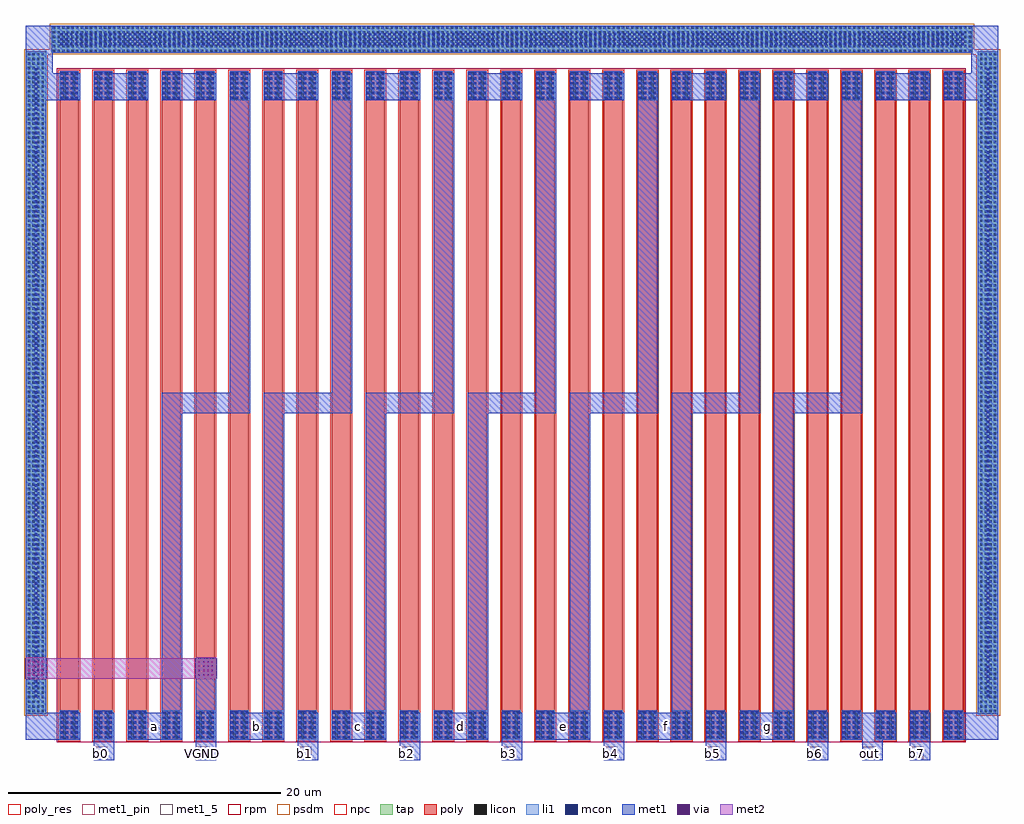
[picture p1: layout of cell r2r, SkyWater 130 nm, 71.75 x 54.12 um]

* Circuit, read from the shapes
.subckt r2r VGND a b b0 b1 b2 b3 b4 b5 b6 b7 c d e f g out
XR1 VGND VGND VGND sky130_fd_pr__res_high_po w=1.41 l=44.88 m=2
XR2 n1 b0 VGND sky130_fd_pr__res_high_po w=1.41 l=44.88
XR3 n1 a VGND sky130_fd_pr__res_high_po w=1.41 l=44.88
XR4 n2 a VGND sky130_fd_pr__res_high_po w=1.41 l=44.88
XR5 n2 VGND VGND sky130_fd_pr__res_high_po w=1.41 l=44.88
XR6 a b VGND sky130_fd_pr__res_high_po w=1.41 l=44.88
XR7 n3 b VGND sky130_fd_pr__res_high_po w=1.41 l=44.88
XR8 n3 b1 VGND sky130_fd_pr__res_high_po w=1.41 l=44.88
XR9 b c VGND sky130_fd_pr__res_high_po w=1.41 l=44.88
XR10 n4 c VGND sky130_fd_pr__res_high_po w=1.41 l=44.88
XR11 n4 b2 VGND sky130_fd_pr__res_high_po w=1.41 l=44.88
XR12 c d VGND sky130_fd_pr__res_high_po w=1.41 l=44.88
XR13 n5 d VGND sky130_fd_pr__res_high_po w=1.41 l=44.88
XR14 n5 b3 VGND sky130_fd_pr__res_high_po w=1.41 l=44.88
XR15 d e VGND sky130_fd_pr__res_high_po w=1.41 l=44.88
XR16 n6 e VGND sky130_fd_pr__res_high_po w=1.41 l=44.88
XR17 n6 b4 VGND sky130_fd_pr__res_high_po w=1.41 l=44.88
XR18 e f VGND sky130_fd_pr__res_high_po w=1.41 l=44.88
XR19 n7 f VGND sky130_fd_pr__res_high_po w=1.41 l=44.88
XR20 n7 b5 VGND sky130_fd_pr__res_high_po w=1.41 l=44.88
XR21 f g VGND sky130_fd_pr__res_high_po w=1.41 l=44.88
XR22 n8 g VGND sky130_fd_pr__res_high_po w=1.41 l=44.88
XR23 n8 b6 VGND sky130_fd_pr__res_high_po w=1.41 l=44.88
XR24 g out VGND sky130_fd_pr__res_high_po w=1.41 l=44.88
XR25 n9 out VGND sky130_fd_pr__res_high_po w=1.41 l=44.88
XR26 n9 b7 VGND sky130_fd_pr__res_high_po w=1.41 l=44.88
.ends

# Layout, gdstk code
import gdstk
lib = gdstk.Library(unit=1e-6, precision=1e-09)
def R(c, l, rs):  # rectangles x0, y0, x1, y1
    for r in rs: c.add(gdstk.rectangle(r[:2], r[2:], *l))
def A(c, l, x, y, w, h, nx, ny, dx, dy):  # array of equal rectangles
    R(c, l, [(x+i*dx, y+j*dy, x+i*dx+w, y+j*dy+h) for i in range(nx) for j in range(ny)])
tap = (65, 44)
poly_res = (66, 13)
poly = (66, 20)
licon = (66, 44)
li1 = (67, 20)
mcon = (67, 44)
met1_5 = (68, 5)
met1_pin = (68, 16)
met1 = (68, 20)
via = (68, 44)
met2 = (69, 20)
rpm = (86, 20)
psdm = (94, 20)
npc = (95, 20)

sky130_fd_pr__res_high_p = lib.new_cell('sky130_fd_pr__res_high_po_1p41_BF4AJ4')
R(sky130_fd_pr__res_high_p, poly_res, [(-0.705,-22.5,0.705,22.5)])
R(sky130_fd_pr__res_high_p, poly, [(-0.705,-24.58,0.705,24.58)])
R(sky130_fd_pr__res_high_p, licon, [(-0.45,-24.5,-0.26,-22.5), (0.26,-24.5,0.45,-22.5), (-0.45,22.5,-0.26,24.5), (0.26,22.5,0.45,24.5)])
R(sky130_fd_pr__res_high_p, li1, [(-0.705,-24.58,0.705,-22.42), (-0.705,22.42,0.705,24.58)])
A(sky130_fd_pr__res_high_p, mcon, -0.625, -24.485, 0.17, 0.17, 4, 6, 0.36, 0.36)
A(sky130_fd_pr__res_high_p, mcon, -0.625, 22.51, 0.17, 0.17, 4, 6, 0.36, 0.36)
R(sky130_fd_pr__res_high_p, met1, [(-0.655,-24.55,0.655,-22.445), (-0.655,22.445,0.655,24.55)])
R(sky130_fd_pr__res_high_p, rpm, [(-0.905,-24.78,0.905,24.78)])
R(sky130_fd_pr__res_high_p, psdm, [(-0.815,-24.69,0.815,24.69)])
R(sky130_fd_pr__res_high_p, npc, [(-0.8,-24.675,0.8,24.675)])

c_sky130_fd_pr__res_high_p = lib.new_cell('sky130_fd_pr__res_high_po_1p41_NAL9NH')
R(c_sky130_fd_pr__res_high_p, poly_res, [(-0.705,-22.5,0.705,22.5)])
R(c_sky130_fd_pr__res_high_p, poly, [(-0.705,-24.58,0.705,24.58)])
R(c_sky130_fd_pr__res_high_p, licon, [(-0.45,-24.5,-0.26,-22.5), (0.26,-24.5,0.45,-22.5), (-0.45,22.5,-0.26,24.5), (0.26,22.5,0.45,24.5)])
R(c_sky130_fd_pr__res_high_p, li1, [(-0.705,-24.58,0.705,-22.42), (-0.705,22.42,0.705,24.58)])
A(c_sky130_fd_pr__res_high_p, mcon, -0.625, -24.485, 0.17, 0.17, 4, 6, 0.36, 0.36)
A(c_sky130_fd_pr__res_high_p, mcon, -0.625, 22.51, 0.17, 0.17, 4, 6, 0.36, 0.36)
R(c_sky130_fd_pr__res_high_p, met1, [(-0.655,-24.55,0.655,-22.445), (-0.655,22.445,0.655,24.55)])
R(c_sky130_fd_pr__res_high_p, rpm, [(-0.905,-24.78,0.905,24.78)])
R(c_sky130_fd_pr__res_high_p, psdm, [(-0.815,-24.69,0.815,24.69)])
R(c_sky130_fd_pr__res_high_p, npc, [(-0.8,-24.675,0.8,24.675)])

r2r = lib.new_cell('r2r')
R(r2r, tap, [(-5,4.88,-3.5,53.62), (65,4.88,66.5,53.62), (-3.12,53.5,64.62,55.5)])
A(r2r, licon, -4.845, 5.025, 0.17, 0.17, 4, 143, 0.34, 0.34)
A(r2r, licon, 65.155, 5.025, 0.17, 0.17, 4, 143, 0.34, 0.34)
A(r2r, licon, -2.995, 53.565, 0.17, 0.17, 199, 6, 0.34, 0.34)
R(r2r, li1, [(-5,4.92,-3.5,53.58), (65,4.92,66.5,53.58), (-3.08,53.5,64.58,55.5)])
A(r2r, mcon, -4.335, 6.125, 0.17, 0.17, 1, 129, 0, 0.36)
A(r2r, mcon, 65.665, 6.125, 0.17, 0.17, 1, 129, 0, 0.36)
A(r2r, mcon, -2.455, 54.055, 0.17, 0.17, 185, 3, 0.36, 0.36)
A(r2r, met1_5, 2.5, 3, 4, 2, 7, 1, 7.5, 0)
A(r2r, met1_pin, 0, 1.5, 1, 1, 8, 1, 7.5, 0)
R(r2r, met1_pin, [(56.5,1.5,57.5,2.5), (60,1.5,61,2.5)])
A(r2r, met1, 15, 1.5, 1.5, 3.5, 7, 1, 7.5, 0)
A(r2r, met1, -5, 3, 4, 2, 10, 1, 7.5, 0)
A(r2r, met1, 5, 5, 1.5, 22, 7, 1, 7.5, 0)
A(r2r, met1, 5, 27, 6.5, 1.5, 7, 1, 7.5, 0)
A(r2r, met1, 10, 28.5, 1.5, 23.5, 7, 1, 7.5, 0)
A(r2r, met1, -5, 50, 4, 2, 3, 1, 5, 0)
A(r2r, met1, 12.5, 50, 4, 2, 7, 1, 7.5, 0)
R(r2r, met1, [(0,1.5,1.5,5), (7.5,1.5,9,7.5), (56.5,1.5,58,3), (-5,5,-3.5,7.5), (65,5,66.5,50), (-5.05,7.5,-3.45,9), (7.45,7.5,9.05,9), (-5,9,-3.5,50), (62.5,50,66.5,52), (-5,52,-3,53.5), (64.5,52,66.5,53.5), (-5,53.5,66.5,55.5)])
A(r2r, via, -4.805, 7.695, 0.15, 0.15, 4, 4, 0.32, 0.32)
A(r2r, via, 7.695, 7.695, 0.15, 0.15, 4, 4, 0.32, 0.32)
R(r2r, met2, [(-5,7.45,-3.5,7.5), (7.5,7.45,9,7.5), (-5,7.5,9,9), (-5,9,-3.5,9.05), (7.5,9,9,9.05)])
A(r2r, rpm, -0.89, 2.8, 0.69, 49.56, 26, 1, 2.5, 0)
R(r2r, psdm, [(-5.125,4.755,-3.375,53.37), (64.875,4.755,66.625,53.37), (-5.125,53.37,-3.18,53.375), (64.68,53.37,66.625,53.375), (-5.125,53.375,66.625,53.745), (-3.44,53.745,64.94,53.75), (-3.245,53.75,64.745,55.625)])
r = gdstk.Reference(sky130_fd_pr__res_high_p, (0.705,27.58)); r.repetition = gdstk.Repetition(25, 1, v1=(2.5,0), v2=(0,0)); r2r.add(r)
r2r.add(gdstk.Reference(c_sky130_fd_pr__res_high_p, (63.205,27.58)))
r2r.add(gdstk.Reference(c_sky130_fd_pr__res_high_p, (-1.795,27.58)))
r2r.add(gdstk.Label('out', (57,2), layer=68, texttype=5))
r2r.add(gdstk.Label('b3', (30.5,2), layer=68, texttype=5))
r2r.add(gdstk.Label('b7', (60.5,2), layer=68, texttype=5))
r2r.add(gdstk.Label('a', (4.5,4), layer=68, texttype=5))
r2r.add(gdstk.Label('b', (12,4), layer=68, texttype=5))
r2r.add(gdstk.Label('f', (42,4), layer=68, texttype=5))
r2r.add(gdstk.Label('c', (19.5,4), layer=68, texttype=5))
r2r.add(gdstk.Label('d', (27,4), layer=68, texttype=5))
r2r.add(gdstk.Label('b4', (38,2), layer=68, texttype=5))
r2r.add(gdstk.Label('e', (34.5,4), layer=68, texttype=5))
r2r.add(gdstk.Label('g', (49.5,4), layer=68, texttype=5))
r2r.add(gdstk.Label('VGND', (8,2), layer=68, texttype=5))
r2r.add(gdstk.Label('b0', (0.5,2), layer=68, texttype=5))
r2r.add(gdstk.Label('b2', (23,2), layer=68, texttype=5))
r2r.add(gdstk.Label('b1', (15.5,2), layer=68, texttype=5))
r2r.add(gdstk.Label('b5', (45.5,2), layer=68, texttype=5))
r2r.add(gdstk.Label('b6', (53,2), layer=68, texttype=5))

lib.write_gds('r2r.gds')
